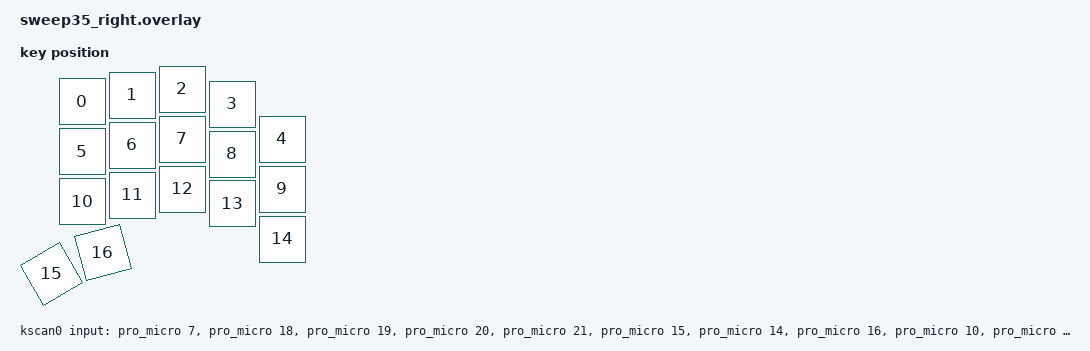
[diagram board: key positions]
#include <physical_layouts.dtsi>
#include "sweep35.dtsi"

/ {
    kscan0: kscan {
        compatible = "zmk,kscan-gpio-direct";
        wakeup-source;
        input-gpios
            = <&pro_micro  7 (GPIO_ACTIVE_LOW | GPIO_PULL_UP)>
            , <&pro_micro 18 (GPIO_ACTIVE_LOW | GPIO_PULL_UP)>
            , <&pro_micro 19 (GPIO_ACTIVE_LOW | GPIO_PULL_UP)>
            , <&pro_micro 20 (GPIO_ACTIVE_LOW | GPIO_PULL_UP)>
            , <&pro_micro 21 (GPIO_ACTIVE_LOW | GPIO_PULL_UP)>
            , <&pro_micro 15 (GPIO_ACTIVE_LOW | GPIO_PULL_UP)>
            , <&pro_micro 14 (GPIO_ACTIVE_LOW | GPIO_PULL_UP)>
            , <&pro_micro 16 (GPIO_ACTIVE_LOW | GPIO_PULL_UP)>
            , <&pro_micro 10 (GPIO_ACTIVE_LOW | GPIO_PULL_UP)>
            , <&pro_micro  1 (GPIO_ACTIVE_LOW | GPIO_PULL_UP)>
            , <&pro_micro  2 (GPIO_ACTIVE_LOW | GPIO_PULL_UP)>
            , <&pro_micro  3 (GPIO_ACTIVE_LOW | GPIO_PULL_UP)>
            , <&pro_micro  4 (GPIO_ACTIVE_LOW | GPIO_PULL_UP)>
            , <&pro_micro  5 (GPIO_ACTIVE_LOW | GPIO_PULL_UP)>
            , <&pro_micro  6 (GPIO_ACTIVE_LOW | GPIO_PULL_UP)>
            , <&pro_micro  8 (GPIO_ACTIVE_LOW | GPIO_PULL_UP)>
            , <&pro_micro  9 (GPIO_ACTIVE_LOW | GPIO_PULL_UP)>
            ;
    };

    sweep35_right_physical_layout: sweep35_right_physical_layout {
        compatible = "zmk,physical-layout";
        display-name = "Sweep35 Right";
        kscan = <&kscan0>;
        transform = <&default_transform>;
        keys =
            <&key_physical_attrs 100 100  800   25       0     0     0>,
            <&key_physical_attrs 100 100  900   12       0     0     0>,
            <&key_physical_attrs 100 100 1000    0       0     0     0>,
            <&key_physical_attrs 100 100 1100   30       0     0     0>,
            <&key_physical_attrs 100 100 1200  100       0     0     0>,
            <&key_physical_attrs 100 100  800  125       0     0     0>,
            <&key_physical_attrs 100 100  900  112       0     0     0>,
            <&key_physical_attrs 100 100 1000  100       0     0     0>,
            <&key_physical_attrs 100 100 1100  130       0     0     0>,
            <&key_physical_attrs 100 100 1200  200       0     0     0>,
            <&key_physical_attrs 100 100  800  225       0     0     0>,
            <&key_physical_attrs 100 100  900  212       0     0     0>,
            <&key_physical_attrs 100 100 1000  200       0     0     0>,
            <&key_physical_attrs 100 100 1100  229       0     0     0>,
            <&key_physical_attrs 100 100 1200  300       0     0     0>,
            <&key_physical_attrs 100 100  952  312 (-3000)  1002   789>,
            <&key_physical_attrs 100 100  952  312 (-1500)  1002   789>;
    };
    &default_transform {
        col-offset = <17>;
    };
};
